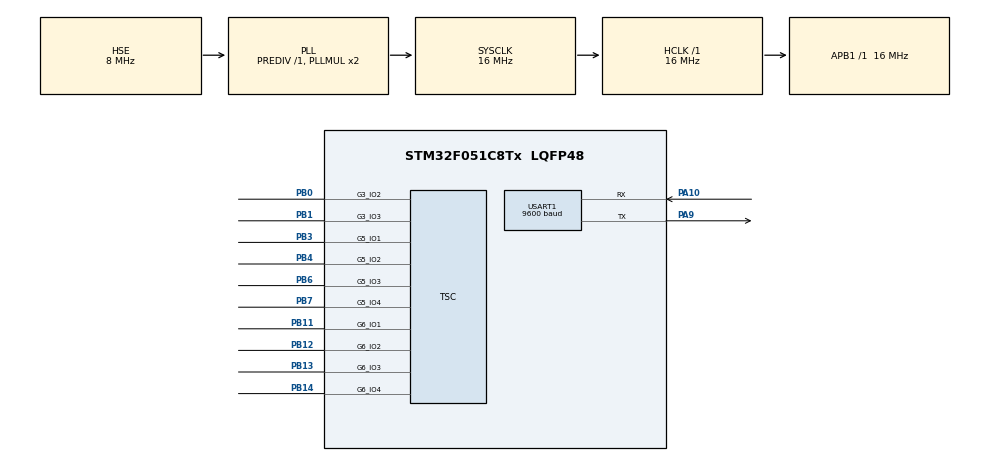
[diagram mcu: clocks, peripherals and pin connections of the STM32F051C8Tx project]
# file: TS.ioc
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Mcu.Family=STM32F0
Mcu.Name=STM32F051C8Tx
Mcu.Package=LQFP48
NVIC.TIM15_IRQn=true\:0\:0\:false\:false\:true\:true\:true
PA10.Mode=Asynchronous
PA10.Signal=USART1_RX
PA13.Mode=Serial_Wire
PA13.Signal=SYS_SWDIO
PA14.Mode=Serial_Wire
PA14.Signal=SYS_SWCLK
PA9.Mode=Asynchronous
PA9.Signal=USART1_TX
PB0.Mode=G3_IO2-Sampling
PB0.Signal=TSC_G3_IO2
PB1.Mode=G3_IO3-Channel
PB1.Signal=TSC_G3_IO3
PB11.Mode=G6_IO1-Channel
PB11.Signal=TSC_G6_IO1
PB12.Mode=G6_IO2-Channel
PB12.Signal=TSC_G6_IO2
PB13.Mode=G6_IO3-Channel
PB13.Signal=TSC_G6_IO3
PB14.Mode=G6_IO4-Sampling
PB14.Signal=TSC_G6_IO4
PB3.Mode=G5_IO1-Channel
PB3.Signal=TSC_G5_IO1
PB4.Mode=G5_IO2-Channel
PB4.Signal=TSC_G5_IO2
PB6.Mode=G5_IO3-Channel
PB6.Signal=TSC_G5_IO3
PB7.Mode=G5_IO4-Sampling
PB7.Signal=TSC_G5_IO4
PF0-OSC_IN.Mode=HSE-External-Oscillator
PF0-OSC_IN.Signal=RCC_OSC_IN
PF1-OSC_OUT.Mode=HSE-External-Oscillator
PF1-OSC_OUT.Signal=RCC_OSC_OUT
ProjectManager.HeapSize=0x200
ProjectManager.StackSize=0x400
ProjectManager.TargetToolchain=STM32CubeIDE
RCC.AHBFreq_Value=16000000
RCC.APB1Freq_Value=16000000
RCC.APB1TimFreq_Value=16000000
RCC.EnbaleCSS=true
RCC.HCLKFreq_Value=16000000
RCC.PLLSourceVirtual=RCC_PLLSOURCE_HSE
RCC.RTCClockSelection=RCC_RTCCLKSOURCE_LSE
RCC.SYSCLKFreq_VALUE=16000000
RCC.SYSCLKSource=RCC_SYSCLKSOURCE_PLLCLK
TIM15.Period=999
TIM15.Prescaler=15
TOUCHSENSING.IO_TOUCHKEY1=G6_IO2
TOUCHSENSING.IO_TOUCHKEY2=G5_IO1
TOUCHSENSING.IO_TOUCHKEY3=G5_IO2
TOUCHSENSING.IO_TOUCHKEY4=G5_IO3
TOUCHSENSING.IO_TOUCHKEY5=G6_IO1
TOUCHSENSING.IO_TOUCHKEY6=G3_IO3
TOUCHSENSING.IO_TOUCHKEY7=G6_IO3
TOUCHSENSING.TSLPRM_SENSORS_DATAS=TSLPRM_TOTAL_TOUCHKEYS 4 2 1 3 1 
TOUCHSENSING.TSLPRM_TOTAL_TOUCHKEYS=7
TSC.CTPulseHighLength=TSC_CTPH_2CYCLES
TSC.CTPulseLowLength=TSC_CTPL_2CYCLES
TSC.ChannelIOs-G3_IO3=TSC_GROUP3_IO3
TSC.ChannelIOs-G5_IO1=TSC_GROUP5_IO1
TSC.ChannelIOs-G5_IO2=TSC_GROUP5_IO2
TSC.ChannelIOs-G5_IO3=TSC_GROUP5_IO3
TSC.ChannelIOs-G6_IO1=TSC_GROUP6_IO1
TSC.ChannelIOs-G6_IO2=TSC_GROUP6_IO2
TSC.ChannelIOs-G6_IO3=TSC_GROUP6_IO3
TSC.MaxCountValue=TSC_MCV_16383
TSC.PulseGeneratorPrescaler=TSC_PG_PRESC_DIV2
TSC.SamplingIOs-G3_IO2=TSC_GROUP3_IO2
TSC.SamplingIOs-G5_IO4=TSC_GROUP5_IO4
TSC.SamplingIOs-G6_IO4=TSC_GROUP6_IO4
TSC.SpreadSpectrum=ENABLE
USART1.BaudRate=9600
USART1.VirtualMode-Asynchronous=VM_ASYNC
VP_TIM15_VS_ClockSourceINT.Mode=Internal
VP_TOUCHSENSING_VS_TOUCHSENSING.Mode=TouchSensing_Enabled
board=custom

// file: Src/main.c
/* USER CODE BEGIN Header */
/**
 ******************************************************************************
 * @file           : main.c
 * @brief          : Main program body
 ******************************************************************************
 * @attention
 *
 * <h2><center>&copy; Copyright (c) 2019 STMicroelectronics.
 * All rights reserved.</center></h2>
 *
 * This software component is licensed by ST under BSD 3-Clause license,
 * the "License"; You may not use this file except in compliance with the
 * License. You may obtain a copy of the License at:
 *                        opensource.org/licenses/BSD-3-Clause
 *
 ******************************************************************************
 */
/* USER CODE END Header */

#include "main.h"
#include "touchsensing.h"

/* USER CODE BEGIN Includes */
#include "touchkey.h"
#include "string.h"
#include "math.h"
/* USER CODE END Includes */

TIM_HandleTypeDef htim15;

TSC_HandleTypeDef htsc;

UART_HandleTypeDef huart1;

/* USER CODE BEGIN PV */
uint8_t serial_data ;
extern char GET_KEY ;

/* USER CODE END PV */

void SystemClock_Config(void);
static void MX_GPIO_Init(void);
static void MX_TIM15_Init(void);
static void MX_TSC_Init(void);
static void MX_USART1_UART_Init(void);

int main(void)
{

  /* MCU Configuration--------------------------------------------------------*/

  /* Reset of all peripherals, Initializes the Flash interface and the Systick. */
  HAL_Init();

  /* Configure the system clock */
  SystemClock_Config();

  /* Initialize all configured peripherals */
  MX_GPIO_Init();
  MX_TIM15_Init();
  MX_TSC_Init();
  MX_USART1_UART_Init();
  MX_TOUCHSENSING_Init();
  /* USER CODE BEGIN 2 */
	HAL_TIM_Base_Start_IT(&htim15);
	HAL_TSC_Start_IT(&htsc);

  /* USER CODE END 2 */

  /* Infinite loop */
  /* USER CODE BEGIN WHILE */

	HAL_Delay(500);
	uint8_t key;
	while (1)
	{
		touchkey_scan();
		key =  GET_KEY;

		if(key != ' '){
			HAL_UART_Transmit(&huart1, &key, 1, 100);
			key = '\n';
			HAL_UART_Transmit(&huart1, &key, 1, 100);
			GET_KEY = ' ';
		}

		// HAL_Delay(1);
    /* USER CODE END WHILE */

	}
}

void SystemClock_Config(void)
{
  RCC_OscInitTypeDef RCC_OscInitStruct = {0};
  RCC_ClkInitTypeDef RCC_ClkInitStruct = {0};
  RCC_PeriphCLKInitTypeDef PeriphClkInit = {0};

  /** Initializes the CPU, AHB and APB busses clocks
  */
  RCC_OscInitStruct.OscillatorType = RCC_OSCILLATORTYPE_HSE;
  RCC_OscInitStruct.HSEState = RCC_HSE_ON;
  RCC_OscInitStruct.PLL.PLLState = RCC_PLL_ON;
  RCC_OscInitStruct.PLL.PLLSource = RCC_PLLSOURCE_HSE;
  RCC_OscInitStruct.PLL.PLLMUL = RCC_PLL_MUL2;
  RCC_OscInitStruct.PLL.PREDIV = RCC_PREDIV_DIV1;
  if (HAL_RCC_OscConfig(&RCC_OscInitStruct) != HAL_OK)
  {
    Error_Handler();
  }
  /** Initializes the CPU, AHB and APB busses clocks
  */
  RCC_ClkInitStruct.ClockType = RCC_CLOCKTYPE_HCLK|RCC_CLOCKTYPE_SYSCLK
                              |RCC_CLOCKTYPE_PCLK1;
  RCC_ClkInitStruct.SYSCLKSource = RCC_SYSCLKSOURCE_PLLCLK;
  RCC_ClkInitStruct.AHBCLKDivider = RCC_SYSCLK_DIV1;
  RCC_ClkInitStruct.APB1CLKDivider = RCC_HCLK_DIV1;

  if (HAL_RCC_ClockConfig(&RCC_ClkInitStruct, FLASH_LATENCY_0) != HAL_OK)
  {
    Error_Handler();
  }
  PeriphClkInit.PeriphClockSelection = RCC_PERIPHCLK_USART1;
  PeriphClkInit.Usart1ClockSelection = RCC_USART1CLKSOURCE_PCLK1;
  if (HAL_RCCEx_PeriphCLKConfig(&PeriphClkInit) != HAL_OK)
  {
    Error_Handler();
  }
  /** Enables the Clock Security System
  */
  HAL_RCC_EnableCSS();
}

static void MX_TIM15_Init(void)
{

  TIM_ClockConfigTypeDef sClockSourceConfig = {0};
  TIM_MasterConfigTypeDef sMasterConfig = {0};

  htim15.Instance = TIM15;
  htim15.Init.Prescaler = 15;
  htim15.Init.CounterMode = TIM_COUNTERMODE_UP;
  htim15.Init.Period = 999;
  htim15.Init.ClockDivision = TIM_CLOCKDIVISION_DIV1;
  htim15.Init.RepetitionCounter = 0;
  htim15.Init.AutoReloadPreload = TIM_AUTORELOAD_PRELOAD_DISABLE;
  if (HAL_TIM_Base_Init(&htim15) != HAL_OK)
  {
    Error_Handler();
  }
  sClockSourceConfig.ClockSource = TIM_CLOCKSOURCE_INTERNAL;
  if (HAL_TIM_ConfigClockSource(&htim15, &sClockSourceConfig) != HAL_OK)
  {
    Error_Handler();
  }
  sMasterConfig.MasterOutputTrigger = TIM_TRGO_RESET;
  sMasterConfig.MasterSlaveMode = TIM_MASTERSLAVEMODE_DISABLE;
  if (HAL_TIMEx_MasterConfigSynchronization(&htim15, &sMasterConfig) != HAL_OK)
  {
    Error_Handler();
  }

}

static void MX_TSC_Init(void)
{

  /** Configure the TSC peripheral
  */
  htsc.Instance = TSC;
  htsc.Init.CTPulseHighLength = TSC_CTPH_2CYCLES;
  htsc.Init.CTPulseLowLength = TSC_CTPL_2CYCLES;
  htsc.Init.SpreadSpectrum = ENABLE;
  htsc.Init.SpreadSpectrumDeviation = 1;
  htsc.Init.SpreadSpectrumPrescaler = TSC_SS_PRESC_DIV1;
  htsc.Init.PulseGeneratorPrescaler = TSC_PG_PRESC_DIV2;
  htsc.Init.MaxCountValue = TSC_MCV_16383;
  htsc.Init.IODefaultMode = TSC_IODEF_OUT_PP_LOW;
  htsc.Init.SynchroPinPolarity = TSC_SYNC_POLARITY_FALLING;
  htsc.Init.AcquisitionMode = TSC_ACQ_MODE_NORMAL;
  htsc.Init.MaxCountInterrupt = DISABLE;
  htsc.Init.ChannelIOs = TSC_GROUP3_IO3|TSC_GROUP5_IO1|TSC_GROUP5_IO2|TSC_GROUP5_IO3
                    |TSC_GROUP6_IO1|TSC_GROUP6_IO2|TSC_GROUP6_IO3;
  htsc.Init.ShieldIOs = 0;
  htsc.Init.SamplingIOs = TSC_GROUP3_IO2|TSC_GROUP5_IO4|TSC_GROUP6_IO4;
  if (HAL_TSC_Init(&htsc) != HAL_OK)
  {
    Error_Handler();
  }

}

static void MX_USART1_UART_Init(void)
{

  huart1.Instance = USART1;
  huart1.Init.BaudRate = 9600;
  huart1.Init.WordLength = UART_WORDLENGTH_8B;
  huart1.Init.StopBits = UART_STOPBITS_1;
  huart1.Init.Parity = UART_PARITY_NONE;
  huart1.Init.Mode = UART_MODE_TX_RX;
  huart1.Init.HwFlowCtl = UART_HWCONTROL_NONE;
  huart1.Init.OverSampling = UART_OVERSAMPLING_16;
  huart1.Init.OneBitSampling = UART_ONE_BIT_SAMPLE_DISABLE;
  huart1.AdvancedInit.AdvFeatureInit = UART_ADVFEATURE_NO_INIT;
  if (HAL_UART_Init(&huart1) != HAL_OK)
  {
    Error_Handler();
  }

}

static void MX_GPIO_Init(void)
{

  /* GPIO Ports Clock Enable */
  __HAL_RCC_GPIOF_CLK_ENABLE();
  __HAL_RCC_GPIOB_CLK_ENABLE();
  __HAL_RCC_GPIOA_CLK_ENABLE();

}

void Error_Handler(void)
{
}

/************************ (C) COPYRIGHT STMicroelectronics *****END OF FILE****/
